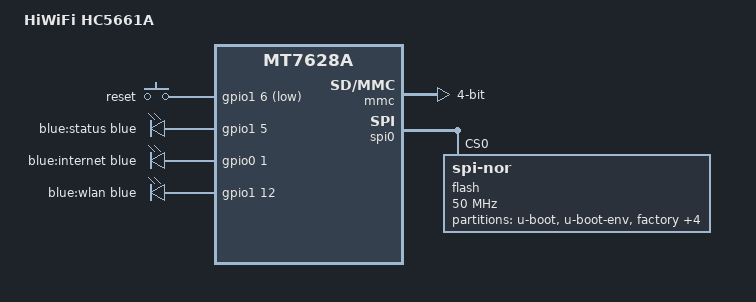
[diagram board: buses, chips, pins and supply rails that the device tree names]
// SPDX-License-Identifier: GPL-2.0-or-later

/dts-v1/;

#include "mt7628a.dtsi"

#include <dt-bindings/gpio/gpio.h>
#include <dt-bindings/input/input.h>
#include <dt-bindings/leds/common.h>

/ {
	compatible = "hiwifi,hc5661a", "ralink,mt7628a-soc";
	model = "HiWiFi HC5661A";

	aliases {
		button-boot1 = &key_reset;
		led-status1 = &led_status;
		serial0 = &uart0;
		spi0 = &spi0;
	};

	chosen {
		stdout-path = &uart0;
	};

	config {
		button-reset-env;
	};

	gpio-keys {
		compatible = "gpio-keys";

		key_reset: reset {
			label = "reset";
			gpios = <&gpio1 6 GPIO_ACTIVE_LOW>;
			linux,code = <KEY_RESTART>;
		};
	};

	gpio-leds {
		compatible = "gpio-leds";

		led_status: led-status {
			label = "blue:status";
			color = <LED_COLOR_ID_BLUE>;
			function = LED_FUNCTION_STATUS;
			gpios = <&gpio1 5 GPIO_ACTIVE_HIGH>;
			default-state = "on";
		};

		led-internet {
			label = "blue:internet";
			color = <LED_COLOR_ID_BLUE>;
			function = "internet";
			gpios = <&gpio0 1 GPIO_ACTIVE_HIGH>;
			default-state = "off";
		};

		led-wlan {
			label = "blue:wlan";
			color = <LED_COLOR_ID_BLUE>;
			function = LED_FUNCTION_WLAN;
			gpios = <&gpio1 12 GPIO_ACTIVE_HIGH>;
			default-state = "off";
		};
	};
};

&eth {
	mediatek,wan-port = <4>;

	pinctrl-names = "default";
	pinctrl-0 = <&ephy_router_mode>;
};

&mmc {
	status = "okay";

	bus-width = <4>;
	cap-sd-highspeed;
};

&spi0 {
	flash@0 {
		compatible = "jedec,spi-nor";
		reg = <0>;
		spi-max-frequency = <50000000>;

		partitions {
			compatible = "fixed-partitions";
			#address-cells = <1>;
			#size-cells = <1>;

			partition@0 {
				label = "u-boot";
				reg = <0x000000 0x030000>;
			};

			partition@30000 {
				label = "u-boot-env";
				reg = <0x030000 0x010000>;
			};

			partition@40000 {
				label = "factory";
				reg = <0x040000 0x010000>;
			};

			partition@50000 {
				label = "firmware";
				reg = <0x50000 0xf70000>;
			};

			partition@fc0000 {
				label = "oem";
				reg = <0xfc0000 0x020000>;
			};

			partition@fe0000 {
				label = "bdinfo";
				reg = <0xfe0000 0x010000>;
			};

			partition@ff0000 {
				label = "backup";
				reg = <0xff0000 0x010000>;
			};
		};
	};
};

&state_default {
	gpios {
		groups = "spis", "spi cs1", "i2s", "wdt", "perst", "refclk", \
			 "uart2", "pwm0", "pwm1", "wled_a", "p0led_a", "p1led_a", \
			 "p2led_a", "p3led_a", "p4led_a";
		function = "gpio";
	};

	/* sd router mode */
	sdxc_router_mode {
		groups = "sd router";
		function = "router";
	};

	sdxc_map_pins {
		groups = "gpio0", "sdmode", "i2c", "uart1";
		function = "gpio";
	};

	sdxc_clk_pad {
		pins = "gpio0";
		drive-strength-28 = <8>;
	};
};
